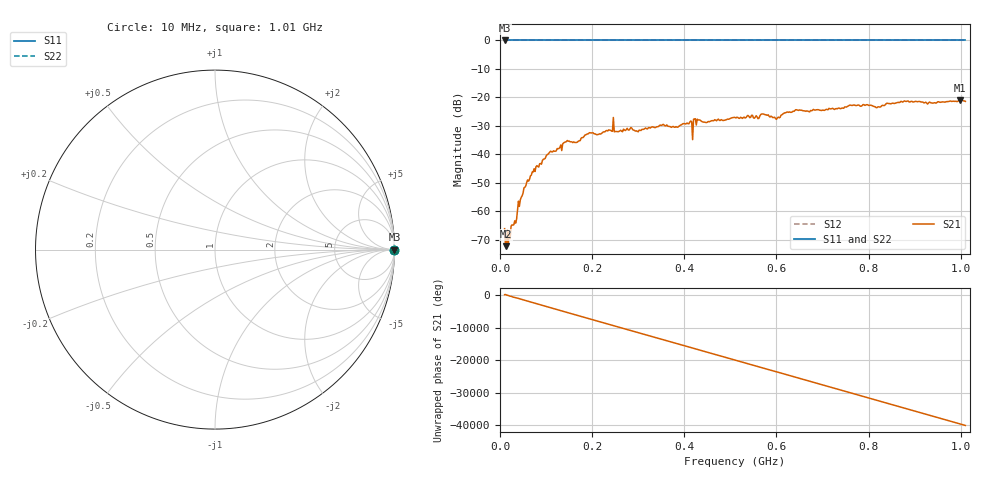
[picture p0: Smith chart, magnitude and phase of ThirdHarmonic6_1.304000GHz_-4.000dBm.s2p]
! 8/16/2025 2:21:57 PM
! C:\ANRITSUVNA\TEMP\TEMP.S2P
! CHANNEL.1
! TR.MEASUREMENT
! RAW.DATA
! RF.CORRECTION.OFF
! AVERAGING.OFF
! IF.BANDWIDTH: 5KHZ
! SWEEPTYPE:  FREQ.SWEEP(Linear)
! Reference Plane Port Info
! PORT:  PORT1  PORT2
! DISTANCE:  0  m  0  m
! TIME:  0  s  0  s
! PHASE.OFFSET:  0  deg.  0  deg.
! LOSS:  0  dB  0  dB
! REF.LOSS:  0  dB  0  dB
! REF.FREQ:  0  Hz  0  Hz
! Power Info
! POWER:  -20  dBm  -20  dBm
! EFF.POWER:  -20  dBm  -20  dBm
! SOURCE.ATTEN:  0  dB  0  dB
! TEST.ATTEN:  0  dB  0  dB
# GHZ S RI R 50.0
! FREQ.GHZ  S11RE  S11IM  S21RE  S21IM  S12RE  S12IM  S22RE  S22IM
!; PortSelection: Port_12
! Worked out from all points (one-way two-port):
!   501 points, 10 MHz to 1.01 GHz, reference 50 ohm
!   highest |S21| = -20.98 dB at 998 MHz (marker M1); lowest = -72.3 dB at 12 MHz (marker M2)
!   lowest |S11| = 0.0 dB at 10 MHz (marker M3)
!   |S11| at or under -10 dB: nowhere
!   |S22| runs from 0.0 to 0.0 dB; largest |S21 - S12| = 1.1
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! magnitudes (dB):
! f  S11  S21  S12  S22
! 10 MHz  0.0  -66.1  0.0  0.0
! 12 MHz  0.0  -72.3  0.0  0.0
! 18 MHz  0.0  -71.3  0.0  0.0
! 32 MHz  0.0  -63.4  0.0  0.0
! 42 MHz  0.0  -58.3  0.0  0.0
! 56 MHz  0.0  -51.1  0.0  0.0
! 76 MHz  0.0  -46.0  0.0  0.0
! 106 MHz  0.0  -39.6  0.0  0.0
! 142 MHz  0.0  -35.6  0.0  0.0
! 178 MHz  0.0  -34.1  0.0  0.0
! 242 MHz  0.0  -31.8  0.0  0.0
! 296 MHz  0.0  -31.7  0.0  0.0
! 344 MHz  0.0  -30.2  0.0  0.0
! 414 MHz  0.0  -28.3  0.0  0.0
! 510 MHz  0.0  -27.0  0.0  0.0
! 570 MHz  0.0  -25.8  0.0  0.0
! 602 MHz  0.0  -27.2  0.0  0.0
! 640 MHz  0.0  -24.6  0.0  0.0
! 678 MHz  0.0  -24.6  0.0  0.0
! 844 MHz  0.0  -22.2  0.0  0.0
! 998 MHz  0.0  -21.0  0.0  0.0
! 1.01 GHz  0.0  -21.4  0.0  0.0
